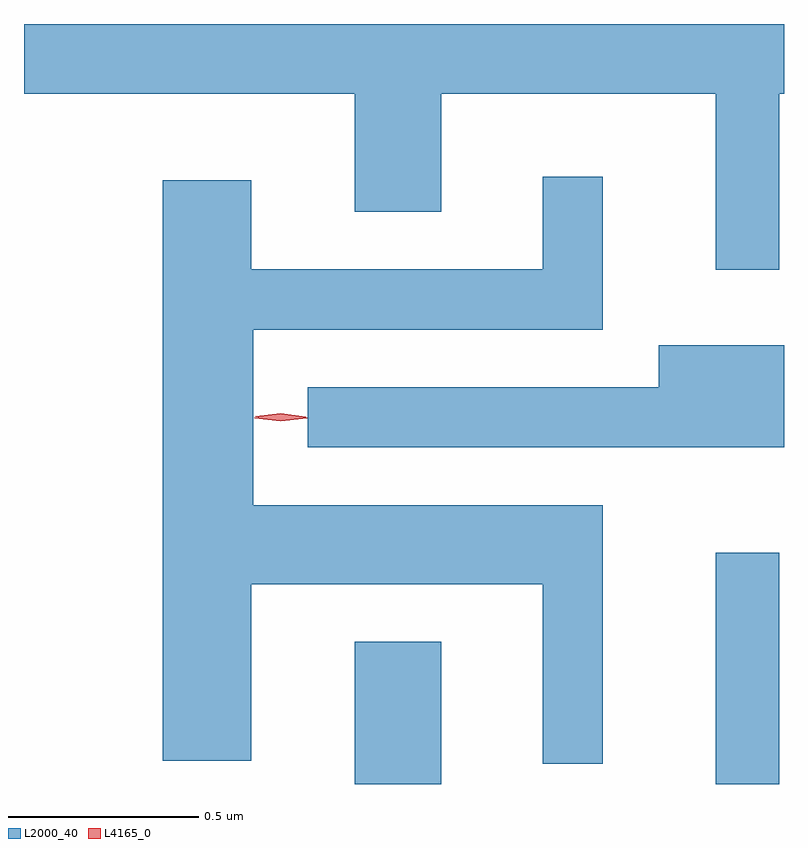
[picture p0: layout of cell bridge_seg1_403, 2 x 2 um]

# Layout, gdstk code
import gdstk
lib = gdstk.Library(unit=1e-6, precision=1e-09)
def R(c, l, rs):  # rectangles x0, y0, x1, y1
    for r in rs: c.add(gdstk.rectangle(r[:2], r[2:], *l))
def P(c, l, *ps):  # polygons
    for p in ps: c.add(gdstk.Polygon(p, *l))
L2000_40 = (2000, 40)
L4165_0 = (4165, 0)

bridge_seg1_403 = lib.new_cell('bridge_seg1_403')
R(bridge_seg1_403, L2000_40, [(596.161,942.16,596.389,942.534), (597.111,942.16,597.279,942.768)])
P(bridge_seg1_403, L2000_40, [(595.291,943.976),(596.161,943.976),(596.161,943.666),(596.389,943.666),(596.389,943.976),(597.111,943.976),(597.111,943.513),(597.279,943.513),(597.279,943.976),(597.291,943.976),(597.291,944.16),(595.291,944.16)],
  [(596.814,942.894),(595.894,942.894),(595.894,943.356),(596.814,943.356),(596.814,943.758),(596.656,943.758),(596.656,943.514),(595.889,943.514),(595.889,943.749),(595.656,943.749),(595.656,942.221),(595.889,942.221),(595.889,942.686),(596.656,942.686),(596.656,942.213),(596.814,942.213)],
  [(597.291,943.314),(596.961,943.314),(596.961,943.204),(596.038,943.204),(596.038,943.046),(597.291,943.046)])
P(bridge_seg1_403, L4165_0, [(595.967,943.114),(595.898,943.123),(595.897,943.124),(595.898,943.124),(595.967,943.134),(596.036,943.124),(596.036,943.124),(596.036,943.123)],
  [(595.966,943.116),(595.901,943.127),(595.9,943.128),(595.901,943.128),(595.967,943.136),(596.032,943.126),(596.033,943.125),(596.032,943.125)])

lib.write_gds('bridge_seg1_403.gds')
